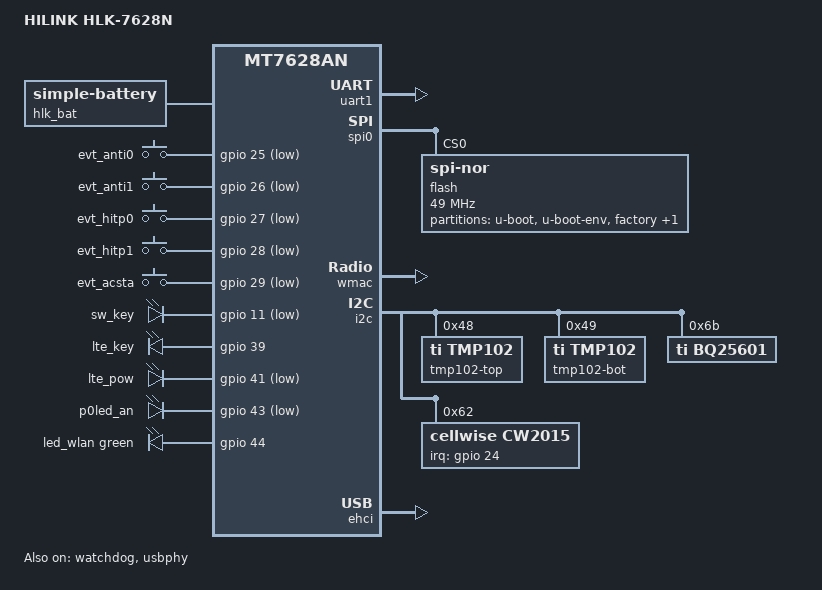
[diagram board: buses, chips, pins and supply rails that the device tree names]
// SPDX-License-Identifier: GPL-2.0-or-later OR MIT

#include "mt7628an.dtsi"

#include <dt-bindings/gpio/gpio.h>
#include <dt-bindings/input/input.h>
#include <dt-bindings/interrupt-controller/irq.h>
#include <dt-bindings/leds/common.h>

/ {
	compatible = "hilink,hlk-7628n", "mediatek,mt7628an-soc";
	model = "HILINK HLK-7628N";

	/*
	 * Single-cell pack model shared by CW2015 (fuel gauge) and BQ25601 (charger).
	 * PKCELL INR14430 800mAh 3.7V Li-ion.
	 * 0.2C standard charge: CC = 160mA, precharge/termination = 64mA (hw min).
	 */
	hlk_bat: battery {
		compatible = "simple-battery";
		constant-charge-current-max-microamp = <600000>;
		constant-charge-voltage-max-microvolt = <4200000>;
		precharge-current-microamp = <60000>;
		charge-term-current-microamp = <60000>;
		charge-full-design-microamp-hours = <800000>;
	};

	aliases {
		led-boot = &led_p0;
		led-wlan = &led_wlan;
		serial1 = &uart1;
	};

keys {
		compatible = "gpio-keys";

		evt_anti0 {
			label = "evt_anti0";
			gpios = <&gpio 25 GPIO_ACTIVE_LOW>;
			linux,code = <BTN_0>;
			debounce-interval = <60>;
		};
		evt_anti1 {
			label = "evt_anti1";
			gpios = <&gpio 26 GPIO_ACTIVE_LOW>;
			linux,code = <BTN_1>;
			debounce-interval = <60>;
		};
		evt_hitp0 {
			label = "evt_hitp0";
			gpios = <&gpio 27 GPIO_ACTIVE_LOW>;
			linux,code = <BTN_2>;
			debounce-interval = <60>;
		};
		evt_hitp1 {
			label = "evt_hitp1";
			gpios = <&gpio 28 GPIO_ACTIVE_LOW>;
			linux,code = <BTN_3>;
			debounce-interval = <60>;
		};
		evt_acsta {
			label = "evt_acsta";
			gpios = <&gpio 29 GPIO_ACTIVE_LOW>;
			linux,code = <BTN_4>;
			debounce-interval = <60>;
		};
	};

	leds {
		compatible = "gpio-leds";

		/*
		 * 主继电器 S1：原理图为集电极开路/灌电流结构——GPIO11 低电平时光耦 LED 导通、
		 * 继电器吸合；高电平关断。故使用 GPIO_ACTIVE_LOW（逻辑“亮/开”= 物理低）。
		 * default-state = off → 逻辑灭 → 物理高 → 继电器释放。
		 * 同时见 &state_default：GPIO11 上拉，降低复位至 gpio-leds 探测前的毛刺吸合风险。
		 */
		sw_key {
			label = "sw_key";
			gpios = <&gpio 11 GPIO_ACTIVE_LOW>;
			default-state = "off";
		};
		lte_key {
			label = "lte_key";
			gpios = <&gpio 39 GPIO_ACTIVE_HIGH>;
			default-state = "off";
		};
		lte_pow {
			label = "lte_pow";
			gpios = <&gpio 41 GPIO_ACTIVE_LOW>;
			default-state = "on";
		};
		/* 上电 ~100ms 快闪；thingsboard-mqtt 在 MQTT 遥测成功后才改写 trigger（慢闪/常亮/灭），未连上则保持快闪 */
		led_p0: p0led_an {
			label = "p0led_an";
			gpios = <&gpio 43 GPIO_ACTIVE_LOW>;
			default-state = "off";
			linux,default-trigger = "timer";
			led-pattern = <100 100>;
		};
		led_wlan: wlan {
			function = LED_FUNCTION_WLAN;
			color = <LED_COLOR_ID_GREEN>;
			gpios = <&gpio 44 GPIO_ACTIVE_HIGH>;
			linux,default-trigger = "phy0tpt";
			default-state = "on";
		};
	};

};

&state_default {
	gpio {
		groups = "sdmode", "p4led_an", "p2led_an", "p0led_an", "gpio";
		function = "gpio";
		/* 11 = sw_key/继电器：上电默认保持高（关断），直至 gpio-leds 探测 */
		mediatek,pull-up = <11 24 25 26 27 28 29 39 41 43>;
		mediatek,pull-down = <>;
	};
};

&gpio {
	status = "okay";
	gpio-input-enable = <24 25 26 27 28 29>;

	gpio-line-names = 
        "reserved",  // 索引0 → GPIO0
        "reserved",  // 索引1 → GPIO1
        "reserved",  // 索引2 → GPIO2
        "reserved",  // 索引3 → GPIO3
        "reserved",  // 索引4 → GPIO4
        "reserved",  // 索引5 → GPIO5
        "reserved",  // 索引6 → GPIO6
        "reserved",  // 索引7 → GPIO7
        "reserved",  // 索引8 → GPIO8
        "reserved",  // 索引9 → GPIO9
        "reserved",  // 索引10 → GPIO10
        "sw_key",    // 索引11 → GPIO11
        "reserved",  // 索引12 → GPIO12
        "reserved",  // 索引13 → GPIO13
        "reserved",  // 索引14 → GPIO14
        "reserved",  // 索引15 → GPIO15
        "reserved",  // 索引16 → GPIO16
        "reserved",  // 索引17 → GPIO17
        "reserved",  // 索引18 → GPIO18
        "reserved",  // 索引19 → GPIO19
        "reserved",  // 索引20 → GPIO20
        "reserved",  // 索引21 → GPIO21
        "reserved",  // 索引22 → GPIO22
        "reserved",  // 索引23 → GPIO23
        "cw2015_alt",// 索引24 → GPIO24
        "evt_anti0", // 索引25 → GPIO25
        "evt_anti1", // 索引26 → GPIO26
        "evt_hitp0", // 索引27 → GPIO27
        "evt_hitp1", // 索引28 → GPIO28
        "evt_acsta", // 索引29 → GPIO29
        "reserved",  // 索引30 → GPIO30
        "reserved",  // 索引31 → GPIO31
        "reserved",  // 索引32 → GPIO32
        "reserved",  // 索引33 → GPIO33
        "reserved",  // 索引34 → GPIO34
        "reserved",  // 索引35 → GPIO35
        "reserved",  // 索引36 → GPIO36
        "reserved",  // 索引37 → GPIO37
        "reserved",  // 索引38 → GPIO38
        "lte_key",   // 索引39 → GPIO39
        "reserved",  // 索引40 → GPIO40
        "lte_pow",   // 索引41 → GPIO41
        "reserved",  // 索引42 → GPIO42
        "p0led_an",  // 索引43 → GPIO43
        "wlan_led",  // 索引44 → GPIO44
        "reserved",  // 索引45 → GPIO45
        "reserved",  // 索引46 → GPIO46
        "reserved",  // 索引47 → GPIO47
        "reserved",  // 索引48 → GPIO48
        "reserved",  // 索引49 → GPIO49
        "reserved",  // 索引50 → GPIO50
        "reserved",  // 索引51 → GPIO51
        "reserved",  // 索引52 → GPIO52
        "reserved",  // 索引53 → GPIO53
        "reserved",  // 索引54 → GPIO54
        "reserved",  // 索引55 → GPIO55
        "reserved",  // 索引56 → GPIO56
        "reserved",  // 索引57 → GPIO57
        "reserved",  // 索引58 → GPIO58
        "reserved",  // 索引59 → GPIO59
        "reserved",  // 索引60 → GPIO60
        "reserved",  // 索引61 → GPIO61
        "reserved",  // 索引62 → GPIO62
        "reserved",  // 索引63 → GPIO63
        "reserved",  // 索引64 → GPIO64
        "reserved",  // 索引65 → GPIO65
        "reserved",  // 索引66 → GPIO66
        "reserved",  // 索引67 → GPIO67
        "reserved",  // 索引68 → GPIO68
        "reserved",  // 索引69 → GPIO69
        "reserved",  // 索引70 → GPIO70
        "reserved",  // 索引71 → GPIO71
        "reserved",  // 索引72 → GPIO72
        "reserved",  // 索引73 → GPIO73
        "reserved",  // 索引74 → GPIO74
        "reserved",  // 索引75 → GPIO75
        "reserved",  // 索引76 → GPIO76
        "reserved",  // 索引77 → GPIO77
        "reserved",  // 索引78 → GPIO78
        "reserved",  // 索引79 → GPIO79
        "reserved",  // 索引80 → GPIO80
        "reserved",  // 索引81 → GPIO81
        "reserved",  // 索引82 → GPIO82
        "reserved",  // 索引83 → GPIO83
        "reserved",  // 索引84 → GPIO84
        "reserved",  // 索引85 → GPIO85
        "reserved",  // 索引86 → GPIO86
        "reserved",  // 索引87 → GPIO87
        "reserved",  // 索引88 → GPIO88
        "reserved",  // 索引89 → GPIO89
        "reserved",  // 索引90 → GPIO90
        "reserved",  // 索引91 → GPIO91
        "reserved",  // 索引92 → GPIO92
        "reserved",  // 索引93 → GPIO93
        "reserved",  // 索引94 → GPIO94
        "reserved";  // 索引95 → GPIO95

};

&uart1 {
	status = "okay";
};

&sdhci {
    status = "disabled";
};

&spi0 {
	status = "okay";

	flash@0 {
		compatible = "jedec,spi-nor";
		reg = <0>;
		// 自研PCB能跑52M，官方开发板只能跑13M
		// 193333333/12100000=15.97,DIV16,~12MHz
		// 193333333/24200000=7.98, DIV8, ~24MHz
		// 193333333/49000000=3.94, DIV4, ~48MHz
		// 193333333/97000000=1.99, DIV2, ~96MHz
		spi-max-frequency = <49000000>;
		broken-flash-reset;

		partitions {
			compatible = "fixed-partitions";
			#address-cells = <1>;
			#size-cells = <1>;

			partition@0 {
				label = "u-boot";
				reg = <0x0 0x30000>;
				read-only;
			};

			partition@30000 {
				label = "u-boot-env";
				reg = <0x30000 0x10000>;
				read-only;
			};

			partition@40000 {
				label = "factory";
				reg = <0x40000 0x10000>;
				read-only;

				nvmem-layout {
					compatible = "fixed-layout";
					#address-cells = <1>;
					#size-cells = <1>;

					eeprom_factory_0: eeprom@0 {
						reg = <0x0 0x400>;
					};

					macaddr_factory_28: macaddr@28 {
						reg = <0x28 0x6>;
					};
				};
			};

			partition@50000 {
				compatible = "denx,uimage";
				label = "firmware";
				reg = <0x50000 0x1fb0000>;
			};
		};
	};
};

&ethernet {
	status = "disabled";
};

&wmac {
	status = "okay";
};

&watchdog {
    status = "okay";
    timeout-sec = <30>;
};

&i2c {
	status = "okay";
	pinctrl-names = "default";
	pinctrl-0 = <&i2c_pins>;

	tmp102@48 {
		compatible = "ti,tmp102";
		reg = <0x48>;
		label = "tmp102-top";
		status = "okay";
	};
	tmp102@49 {
		compatible = "ti,tmp102";
		reg = <0x49>;
		label = "tmp102-bot";
		status = "okay";
	};
	bq25601@6b {
		compatible = "ti,bq25601";
		reg = <0x6b>;
		monitored-battery = <&hlk_bat>;
		ti,watchdog-timeout-ms = <0>;
		input-voltage-limit-microvolt = <4500000>;
		input-current-limit-microamp = <2000000>;
		status = "okay";
	};
	cw2015@62 {
		compatible = "cellwise,cw2015";
		reg = <0x62>;
		monitored-battery = <&hlk_bat>;
		cellwise,charger-psy-name = "bq256xx-charger";
		/*
		 * Do not set power-supplies to the BQ charger phandle: ti,bq25601 may expose
		 * multiple power_supply devices from one DT node; cw2015 passes one phandle and
		 * can trigger power_supply core mismatch / panic on some kernels (e.g. 6.12).
		 * Dmesg "Failed to get supply state: -19 (-ENODEV)" is handled in-driver by
		 * target/linux/generic/pending-6.12/783-power-supply-cw2015-handle-ENODEV-supply-state.patch.
		 */
		interrupt-parent = <&gpio>;
		interrupts = <24 IRQ_TYPE_EDGE_FALLING>;
		cellwise,monitor-interval-ms = <5000>;
		cellwise,alert-level = <31>;
		status = "okay";
        cellwise,battery-profile = /bits/ 8 <0x15 0x7E 0x87 0x4F 0x4C 0x5D 0x63 0x5E 0x58 0x57 0x5D 0x64 0x69 0x64 0x51 0x43 0x39 0x31 0x2F 0x33 0x42 0x4D 0x5C 0x67 0x53 0x7D 0x06 0x66 0x12 0x23 0x7A 0x8F 0xA3 0xAB 0xAD 0xAC 0x3E 0x1A 0x76 0x2E 0x0A 0x80 0x1B 0x52 0x83 0x93 0x9C 0x3B 0x54 0x81 0x9A 0xB1 0x80 0xED 0xCE 0xCB 0x2F 0x00 0x64 0xA5 0xB5 0xC1 0x46 0xAE>;
	};

};

&usbphy {
	status = "okay";
};

&ehci {
	status = "okay";
};

&ohci {
	status = "okay";
};

&pinctrl {
	ephy-digital;
};

&esw {
    status = "disabled";
};

&ohci {
    status = "disabled";
};
